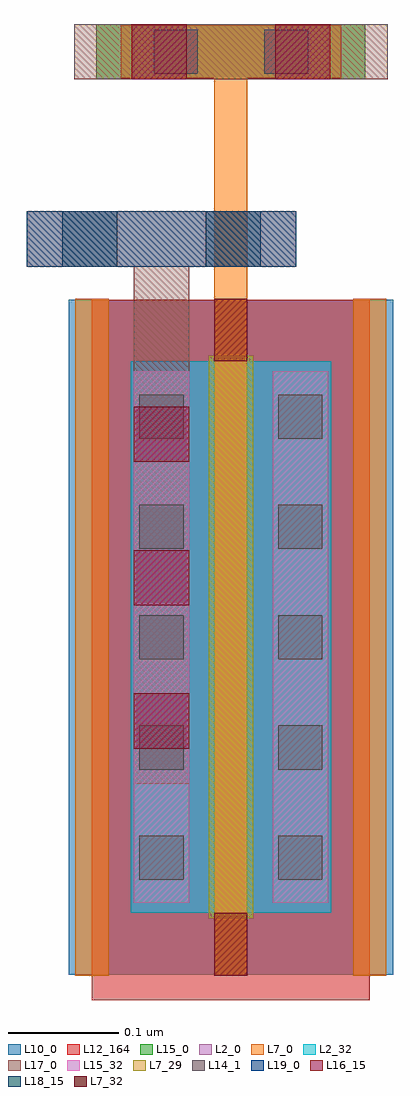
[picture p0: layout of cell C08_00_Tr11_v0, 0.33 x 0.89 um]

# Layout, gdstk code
import gdstk
lib = gdstk.Library(unit=1e-6, precision=1e-09)
def R(c, l, rs):  # rectangles x0, y0, x1, y1
    for r in rs: c.add(gdstk.rectangle(r[:2], r[2:], *l))
def A(c, l, x, y, w, h, nx, ny, dx, dy):  # array of equal rectangles
    R(c, l, [(x+i*dx, y+j*dy, x+i*dx+w, y+j*dy+h) for i in range(nx) for j in range(ny)])
L2_0 = (2, 0)
L2_32 = (2, 32)
L7_0 = (7, 0)
L7_29 = (7, 29)
L7_32 = (7, 32)
L10_0 = (10, 0)
L12_164 = (12, 164)
L14_1 = (14, 1)
L15_0 = (15, 0)
L15_32 = (15, 32)
L16_15 = (16, 15)
L17_0 = (17, 0)
L18_15 = (18, 15)
L19_0 = (19, 0)

c08_00_tr11_v0_srf_pmos_ = lib.new_cell('C08_00_Tr11_v0:SRF_Pmos:SRF_Source_ViaM1M2:SRF_ViaM1M2')
R(c08_00_tr11_v0_srf_pmos_, L15_0, [(0,-0.292,0.05,0.082)])
A(c08_00_tr11_v0_srf_pmos_, L16_15, 0, -0.26, 0.05, 0.05, 1, 3, 0, 0.13)
R(c08_00_tr11_v0_srf_pmos_, L17_0, [(0,-0.292,0.05,0.082)])

c_c08_00_tr11_v0_srf_pmos_ = lib.new_cell('C08_00_Tr11_v0:SRF_Pmos:SRF_Source_ViaM1M2')
c_c08_00_tr11_v0_srf_pmos_.add(gdstk.Reference(c08_00_tr11_v0_srf_pmos_, (-0.025,0.105)))

c_c08_00_tr11_v0_srf_pmos__ = lib.new_cell('C08_00_Tr11_v0:SRF_Pmos:SRF_Gate_ViaM0Mx:SRF_ViaM0M1')
R(c_c08_00_tr11_v0_srf_pmos__, L7_0, [(-0.01,-0.004,0.15,0.044)])
R(c_c08_00_tr11_v0_srf_pmos__, L14_1, [(0,0,0.04,0.04), (0.1,0,0.14,0.04)])
R(c_c08_00_tr11_v0_srf_pmos__, L15_0, [(-0.021,-0.005,0.161,0.045)])

c_c08_00_tr11_v0_srf_pmos___ = lib.new_cell('C08_00_Tr11_v0:SRF_Pmos:SRF_Gate_ViaM0Mx:SRF_ViaM1M2')
R(c_c08_00_tr11_v0_srf_pmos___, L15_0, [(-0.032,0,0.212,0.05)])
R(c_c08_00_tr11_v0_srf_pmos___, L16_15, [(0,0,0.05,0.05), (0.13,0,0.18,0.05)])
R(c_c08_00_tr11_v0_srf_pmos___, L17_0, [(-0.032,0,0.212,0.05)])

c_c08_00_tr11_v0_srf_pmos____ = lib.new_cell('C08_00_Tr11_v0:SRF_Pmos:SRF_Gate_ViaM0Mx')
c_c08_00_tr11_v0_srf_pmos____.add(gdstk.Reference(c_c08_00_tr11_v0_srf_pmos__, (-0.07,-0.02)))
c_c08_00_tr11_v0_srf_pmos____.add(gdstk.Reference(c_c08_00_tr11_v0_srf_pmos___, (-0.09,-0.025)))

c08_00_tr11_v0_srf_pmos = lib.new_cell('C08_00_Tr11_v0:SRF_Pmos')
R(c08_00_tr11_v0_srf_pmos, L2_0, [(-0.076,0.057,0.106,0.557)])
R(c08_00_tr11_v0_srf_pmos, L2_32, [(-0.076,0.057,0,0.557), (0.03,0.057,0.106,0.557)])
A(c08_00_tr11_v0_srf_pmos, L7_0, -0.126, 0, 0.03, 0.614, 3, 1, 0.126, 0)
R(c08_00_tr11_v0_srf_pmos, L7_0, [(0,0.614,0.03,0.814), (-0.085,0.814,0.115,0.862)])
R(c08_00_tr11_v0_srf_pmos, L7_29, [(-0.005,0.052,0.035,0.562)])
R(c08_00_tr11_v0_srf_pmos, L7_32, [(0,0,0.03,0.057), (0,0.557,0.03,0.614)])
R(c08_00_tr11_v0_srf_pmos, L10_0, [(-0.132,0.001,0.162,0.613)])
R(c08_00_tr11_v0_srf_pmos, L12_164, [(-0.111,-0.022,0.141,0.613)])
A(c08_00_tr11_v0_srf_pmos, L14_1, -0.068, 0.087, 0.04, 0.04, 1, 5, 0, 0.1)
A(c08_00_tr11_v0_srf_pmos, L14_1, 0.058, 0.087, 0.04, 0.04, 1, 5, 0, 0.1)
R(c08_00_tr11_v0_srf_pmos, L15_0, [(-0.073,0.066,-0.023,0.548), (-0.073,0.066,-0.023,0.548), (0.053,0.066,0.103,0.548), (0.053,0.066,0.103,0.548)])
R(c08_00_tr11_v0_srf_pmos, L15_32, [(-0.073,0.066,-0.023,0.548), (0.053,0.066,0.103,0.548)])
R(c08_00_tr11_v0_srf_pmos, L17_0, [(-0.073,0.548,-0.023,0.643), (-0.073,0.643,-0.023,0.693), (-0.127,0.813,0.157,0.863)])
c08_00_tr11_v0_srf_pmos.add(gdstk.Reference(c_c08_00_tr11_v0_srf_pmos_, (-0.048,0.361)))
c08_00_tr11_v0_srf_pmos.add(gdstk.Reference(c_c08_00_tr11_v0_srf_pmos____, (0.015,0.838)))

c08_00_tr11_v0_srf_sourc = lib.new_cell('C08_00_Tr11_v0:SRF_Source_ViaM2M3:SRF_ViaM2M3')
R(c08_00_tr11_v0_srf_sourc, L17_0, [(-0.032,0,0.212,0.05)])
R(c08_00_tr11_v0_srf_sourc, L18_15, [(0,0,0.05,0.05), (0.13,0,0.18,0.05)])
R(c08_00_tr11_v0_srf_sourc, L19_0, [(-0.032,0,0.212,0.05)])

c_c08_00_tr11_v0_srf_sourc = lib.new_cell('C08_00_Tr11_v0:SRF_Source_ViaM2M3')
c_c08_00_tr11_v0_srf_sourc.add(gdstk.Reference(c08_00_tr11_v0_srf_sourc, (-0.09,-0.025)))

c08_00_tr11_v0 = lib.new_cell('C08_00_Tr11_v0')
R(c08_00_tr11_v0, L19_0, [(-0.073,0.643,-0.023,0.693)])
c08_00_tr11_v0.add(gdstk.Reference(c08_00_tr11_v0_srf_pmos, (0,0)))
c08_00_tr11_v0.add(gdstk.Reference(c_c08_00_tr11_v0_srf_sourc, (-0.048,0.668)))

lib.write_gds('C08_00_Tr11_v0.gds')
